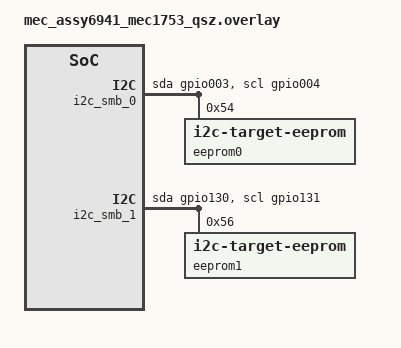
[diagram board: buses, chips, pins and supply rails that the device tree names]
/*
 * Copyright (c) 2026 Microchip Technology Inc.
 *
 * SPDX-License-Identifier: Apache-2.0
 */

/ {
	aliases {
		i2c-controller = &i2c_smb_0;
		i2c-controller-target = &i2c_smb_1;
	};
};

/*
 * MEC I2C controllers have a HW mux allowing each controller to access any of the port pin pairs.

 * Close JP15 (4-5), (7-8) and JP27 (31-32), (34-35) to mux GPIO004/GPIO003 to I2C00 pins in J12
 * Close JP14 (4-5), (13-14) to mux GPIO131/GPIO130 to I2C01 pins in J13
 * Close JP162 (29-30), (31-32) to add external pull-ups for GPIO130/GPIO131
 * Connect the J12.1 to J13.1 and J12.3 to J13.3 to test the I2C loopback.
 */

&i2c_smb_0 {
	compatible = "microchip,xec-i2c-v2";
	port-sel = <0>;
	sda-gpios = <MCHP_GPIO_DECODE_003 0>;
	scl-gpios = <MCHP_GPIO_DECODE_004 0>;
	pinctrl-0 = <&i2c00_sda_gpio003 &i2c00_scl_gpio004>;
	pinctrl-names = "default";
	status = "okay";

	eeprom0: eeprom@54 {
		compatible = "zephyr,i2c-target-eeprom";
		reg = <0x54>;
		address-width = <16>;
		size = <1024>;
	};
};

&i2c_smb_1 {
	compatible = "microchip,xec-i2c-v2";
	port-sel = <1>;
	sda-gpios = <MCHP_GPIO_DECODE_130 0>;
	scl-gpios = <MCHP_GPIO_DECODE_131 0>;
	pinctrl-0 = <&i2c01_sda_gpio130 &i2c01_scl_gpio131>;
	pinctrl-names = "default";
	status = "okay";

	eeprom1: eeprom@56 {
		compatible = "zephyr,i2c-target-eeprom";
		reg = <0x56>;
		address-width = <16>;
		size = <1024>;
	};
};

/* I2C Port 0 */
&i2c00_sda_gpio003 {
	drive-open-drain;
	output-enable;
	output-high;
	drive-strength = <1>;
};

&i2c00_scl_gpio004 {
	drive-open-drain;
	output-enable;
	output-high;
	drive-strength = <1>;
};

/* I2C Port 1 */
&i2c01_sda_gpio130 {
	drive-open-drain;
	output-enable;
	output-high;
	drive-strength = <1>;
};

&i2c01_scl_gpio131 {
	drive-open-drain;
	output-enable;
	output-high;
	drive-strength = <1>;
};
